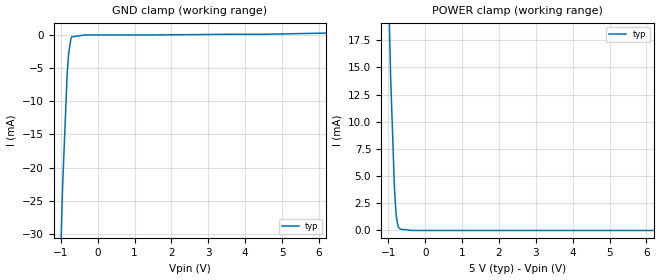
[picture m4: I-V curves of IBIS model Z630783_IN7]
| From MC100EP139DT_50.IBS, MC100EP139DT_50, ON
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| (C) COPYRIGHT 1993-2000
| MENTOR GRAPHICS CORPORATION
| ICX STANDARD LIBRARY, ICX PROJECT MODELING,
| ICX CUSTOM MODELING, ICX VENDOR MODEL
| ALL RIGHTS RESERVED.
| THE FOLLOWING ARE TRADEMARKS OR SERVICE MARKS OF
| MENTOR GRAPHICS CORPORATION:ICX (R), ICX STANDARD
| LIBRARY(R), ICX PROJECT MODELING(R), ICX CUSTOM
| MODELING(R), qualityIBIS(TM), MODELVIEWER(TM),
| AND MODELEDITOR(TM)
| ALL COPIES OF SOFTWARE, INCLUDING BUT NOT LIMITED TO
| ANY MODIFICATIONS, ENHANCEMENTS OR DERIVATIVE WORKS,
| MUST CONTAIN ALL MENTOR GRAPHICS CORPORATION'S
| NOTICES AND LEGENDS, INCLUDING THOSE EMBEDDED IN
| SOFTWARE AND THOSE AFFIXED TO SOFTWARE MEDIUM
| AND CONTAINER, AS RECEIVED FROM MENTOR GRAPHICS
| CORPORATION.
| Model Application Version 1.89 2/18/99.
[Model] Z630783_IN7
Model_type Input_ECL
Vinl = 3.357V
Vinh = 3.977V
C_comp 3.000pF NA NA
| variable typ   min   max
[Voltage Range] 5.000V NA NA
[GND Clamp Reference] 0.000V NA NA
[POWER Clamp Reference] 5.000V NA NA
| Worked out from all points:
|   GND clamp passes 1 mA (typ) near -0.74 V on its own axis
|   POWER clamp passes 1 mA (typ) near -0.77 V on its own axis
[GND Clamp]
-5V       -1.001A    NA         NA
-1.074V   -46.8mA    NA         NA
-953mV    -22.7mA    NA         NA
-831mV    -6mA       NA         NA
-790mV    -2.8mA     NA         NA
-729mV    -600uA     NA         NA
-709mV    -300uA     NA         NA
-354.5mV  0A         NA         NA
1.439V    0A         NA         NA
3.527V    100uA      NA         NA
4.47V     100uA      NA         NA
10V       686.8uA    NA         NA
[POWER Clamp]
-5V       722mA      NA         NA
-1.061V   31.73mA    NA         NA
-939mV    14.14mA    NA         NA
-838mV    4.055mA    NA         NA
-797mV    1.759mA    NA         NA
-777mV    1.061mA    NA         NA
-736mV    365.6uA    NA         NA
-696mV    169.9uA    NA         NA
-625mV    84.93uA    NA         NA
-554mV    84.93uA    NA         NA
-369.3mV  0A         NA         NA
10V       0A         NA         NA
